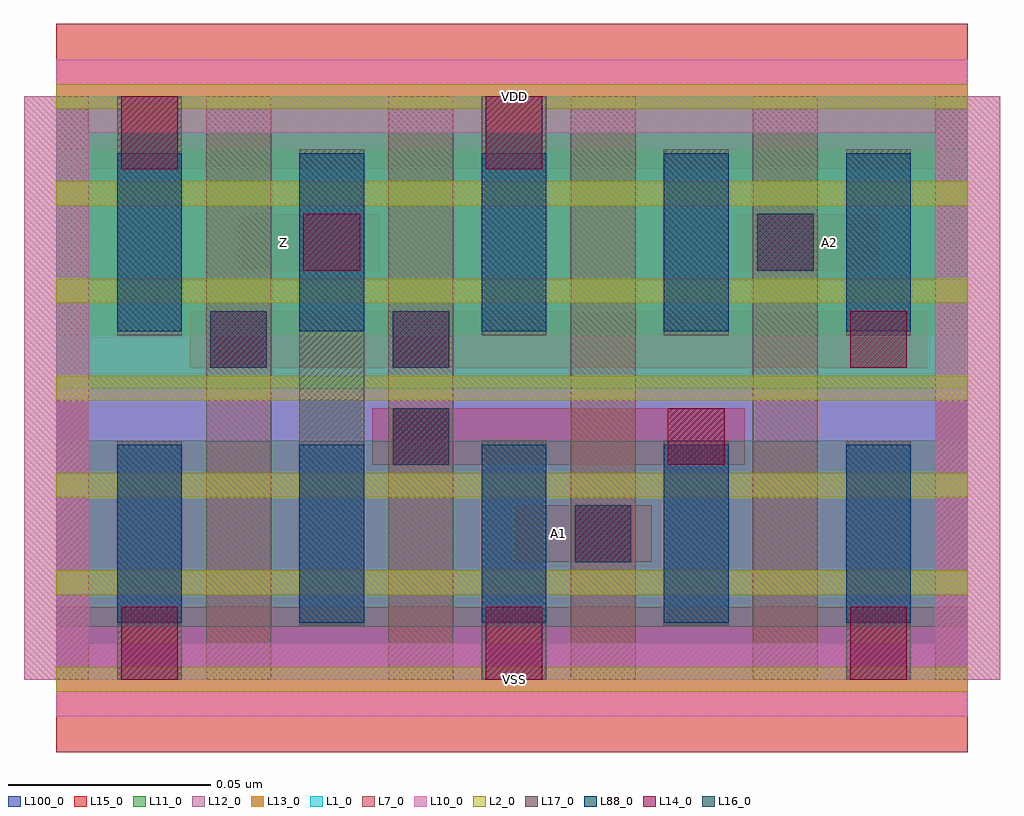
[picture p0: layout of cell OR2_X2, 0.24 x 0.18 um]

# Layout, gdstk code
import gdstk
lib = gdstk.Library(unit=1e-6, precision=1e-09)
def R(c, l, rs):  # rectangles x0, y0, x1, y1
    for r in rs: c.add(gdstk.rectangle(r[:2], r[2:], *l))
def A(c, l, x, y, w, h, nx, ny, dx, dy):  # array of equal rectangles
    R(c, l, [(x+i*dx, y+j*dy, x+i*dx+w, y+j*dy+h) for i in range(nx) for j in range(ny)])
def P(c, l, *ps):  # polygons
    for p in ps: c.add(gdstk.Polygon(p, *l))
L1_0 = (1, 0)
L2_0 = (2, 0)
L7_0 = (7, 0)
L10_0 = (10, 0)
L11_0 = (11, 0)
L12_0 = (12, 0)
L13_0 = (13, 0)
L14_0 = (14, 0)
L15_0 = (15, 0)
L16_0 = (16, 0)
L17_0 = (17, 0)
L88_0 = (88, 0)
L100_0 = (100, 0)

or2_x2 = lib.new_cell('OR2_X2')
R(or2_x2, L1_0, [(0,0.072,0.225,0.144)])
A(or2_x2, L2_0, 0, -0.003, 0.225, 0.006, 1, 7, 0, 0.024)
A(or2_x2, L7_0, -0.008, 0, 0.016, 0.144, 6, 1, 0.045, 0)
P(or2_x2, L10_0, [(0,-0.009),(0,0),(-0.008,0),(-0.008,0.135),(0.008,0.135),(0.008,0.009),(0.217,0.009),(0.217,0.135),(-0.008,0.135),(-0.008,0.144),(0,0.144),(0,0.153),(0.225,0.153),(0.225,0.144),(0.233,0.144),(0.233,0),(0.225,0),(0.225,-0.009)])
R(or2_x2, L11_0, [(0,0.013,0.225,0.059), (0,0.085,0.225,0.131)])
R(or2_x2, L12_0, [(0,0,0.225,0.072)])
R(or2_x2, L13_0, [(0,0.072,0.225,0.144)])
A(or2_x2, L14_0, 0.016, 0, 0.014, 0.018, 3, 1, 0.09, 0)
R(or2_x2, L14_0, [(0.128,0.029,0.142,0.043), (0.083,0.053,0.097,0.067), (0.151,0.053,0.165,0.067), (0.038,0.077,0.052,0.091), (0.083,0.077,0.097,0.091), (0.196,0.077,0.21,0.091), (0.061,0.101,0.075,0.115), (0.173,0.101,0.187,0.115), (0.016,0.126,0.03,0.144), (0.106,0.126,0.12,0.144)])
R(or2_x2, L15_0, [(0,-0.018,0.225,0.018), (0.113,0.029,0.147,0.043), (0.078,0.053,0.17,0.067), (0.033,0.077,0.215,0.091), (0.045,0.101,0.08,0.115), (0.168,0.101,0.203,0.115), (0,0.126,0.225,0.162)])
R(or2_x2, L16_0, [(0.128,0.029,0.142,0.043), (0.083,0.053,0.097,0.067), (0.038,0.077,0.052,0.091), (0.083,0.077,0.097,0.091), (0.173,0.101,0.187,0.115)])
A(or2_x2, L17_0, 0.015, 0, 0.016, 0.059, 3, 1, 0.09, 0)
R(or2_x2, L17_0, [(0.06,0.013,0.076,0.131), (0.15,0.013,0.166,0.059), (0.015,0.085,0.031,0.144), (0.105,0.085,0.121,0.144), (0.15,0.085,0.166,0.131), (0.195,0.085,0.211,0.131)])
A(or2_x2, L88_0, 0.015, 0.014, 0.016, 0.044, 5, 2, 0.045, 0.072)
R(or2_x2, L100_0, [(0,0,0.225,0.144)])
or2_x2.add(gdstk.Label('A2', (0.191,0.108), layer=15, texttype=251))
or2_x2.add(gdstk.Label('VSS', (0.113,0), layer=15, texttype=251))
or2_x2.add(gdstk.Label('VDD', (0.113,0.144), layer=15, texttype=251))
or2_x2.add(gdstk.Label('Z', (0.056,0.108), layer=15, texttype=251))
or2_x2.add(gdstk.Label('VSS', (0.113,0), layer=15, texttype=251))
or2_x2.add(gdstk.Label('VDD', (0.113,0.144), layer=15, texttype=251))
or2_x2.add(gdstk.Label('A1', (0.124,0.036), layer=15, texttype=251))
or2_x2.add(gdstk.Label('VSS', (0.113,0), layer=15, texttype=251))
or2_x2.add(gdstk.Label('VDD', (0.113,0.144), layer=15, texttype=251))
or2_x2.add(gdstk.Label('VSS', (0.113,0), layer=3, texttype=251))
or2_x2.add(gdstk.Label('VSS', (0.113,0), layer=3, texttype=251))
or2_x2.add(gdstk.Label('VSS', (0.113,0), layer=3, texttype=251))
or2_x2.add(gdstk.Label('VDD', (0.113,0.144), layer=1, texttype=251))
or2_x2.add(gdstk.Label('VDD', (0.113,0.144), layer=1, texttype=251))
or2_x2.add(gdstk.Label('VDD', (0.113,0.144), layer=1, texttype=251))

lib.write_gds('OR2_X2.gds')
